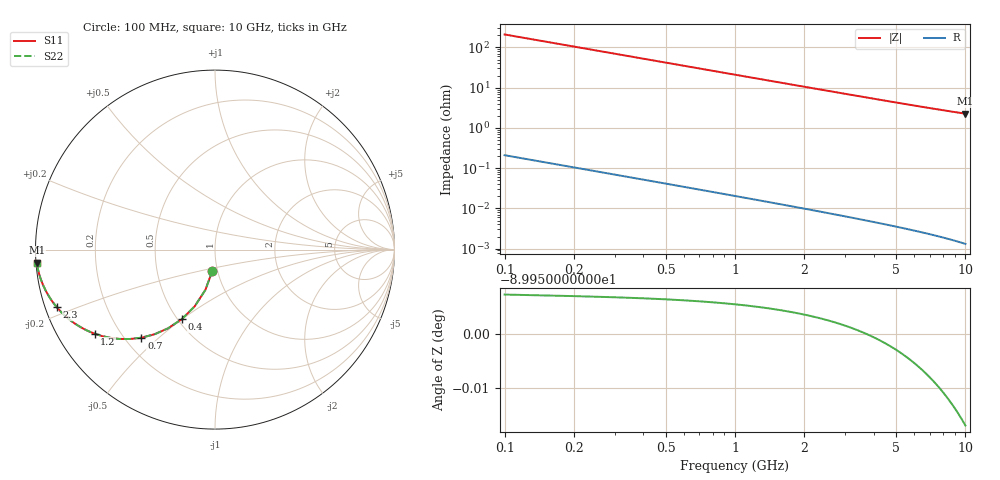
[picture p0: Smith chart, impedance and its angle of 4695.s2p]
# Hz S RI R 50.00
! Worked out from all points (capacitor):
!   100 points, 100 MHz to 10 GHz, reference 50 ohm
!   read as one part in shunt: C = 7.57 pF near 100 MHz
!   lowest |Z| = 2.26 ohm at 10 GHz (marker M1)
!   S11 on the Smith chart (normalised r, x): 100 MHz: 0.95, -0.22; 400 MHz: 0.52, -0.50; 700 MHz: 0.27, -0.44; 1.2 GHz: 0.11, -0.31; 2.3 GHz: 0.03, -0.18; 10 GHz: 0.00, -0.04
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1e8  -0.014 -0.1172  0.9859 -0.1174  0.9859 -0.1174  -0.014 -0.1172
2e8  -0.0537 -0.2249  0.9462 -0.2252  0.9462 -0.2252  -0.0537 -0.2249
3e8  -0.1132 -0.3161  0.8867 -0.3166  0.8867 -0.3166  -0.1132 -0.3161
4e8  -0.1848 -0.3874  0.8151 -0.388  0.8151 -0.388  -0.1848 -0.3874
5e8  -0.2615 -0.4386  0.7384 -0.4394  0.7384 -0.4394  -0.2615 -0.4386
6e8  -0.3376 -0.4719  0.6623 -0.4729  0.6623 -0.4729  -0.3376 -0.4719
7e8  -0.4095 -0.4907  0.5904 -0.4918  0.5904 -0.4918  -0.4095 -0.4907
9e8  -0.534 -0.4976  0.4659 -0.499  0.4659 -0.499  -0.534 -0.4976
1e9  -0.5858 -0.4913  0.4141 -0.4928  0.4141 -0.4928  -0.5858 -0.4913
1.2e9  -0.6706 -0.4686  0.3293 -0.4704  0.3293 -0.4704  -0.6706 -0.4686
1.3e9  -0.7049 -0.4546  0.295 -0.4566  0.295 -0.4566  -0.7049 -0.4546
1.5e9  -0.7607 -0.425  0.2392 -0.4273  0.2392 -0.4273  -0.7607 -0.425
1.8e9  -0.8207 -0.3817  0.1793 -0.3845  0.1793 -0.3845  -0.8207 -0.3817
2e9  -0.8496 -0.3554  0.1503 -0.3585  0.1503 -0.3585  -0.8496 -0.3554
2.3e9  -0.8819 -0.3204  0.118 -0.3239  0.118 -0.3239  -0.8819 -0.3204
2.8e9  -0.9171 -0.273  0.0828 -0.2773  0.0828 -0.2773  -0.9171 -0.273
3.4e9  -0.9422 -0.23  0.0577 -0.2353  0.0577 -0.2353  -0.9422 -0.23
4.2e9  -0.9614 -0.1887  0.0385 -0.1953  0.0385 -0.1953  -0.9614 -0.1887
5.1e9  -0.9735 -0.1559  0.0264 -0.1639  0.0264 -0.1639  -0.9735 -0.1559
6.7e9  -0.9845 -0.1172  0.0153 -0.1279  0.0153 -0.1279  -0.9845 -0.1172
8.4e9  -0.9902 -0.0909  0.00966 -0.1044  0.00966 -0.1044  -0.9902 -0.0909
1e10  -0.9931 -0.0735  0.0067 -0.0898  0.0067 -0.0898  -0.9931 -0.0735
